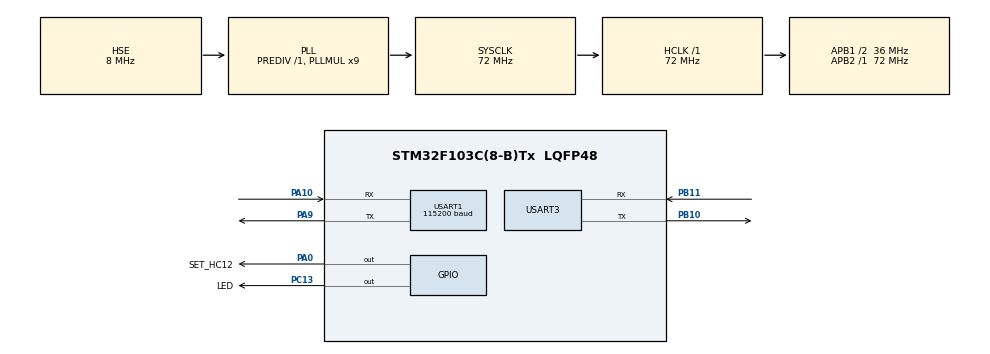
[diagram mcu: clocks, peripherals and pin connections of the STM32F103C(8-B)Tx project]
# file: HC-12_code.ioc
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Dma.Request0=USART1_RX
Dma.Request1=USART1_TX
Dma.USART1_RX.0.Direction=DMA_PERIPH_TO_MEMORY
Dma.USART1_RX.0.Instance=DMA1_Channel5
Dma.USART1_RX.0.MemDataAlignment=DMA_MDATAALIGN_BYTE
Dma.USART1_RX.0.MemInc=DMA_MINC_ENABLE
Dma.USART1_RX.0.Mode=DMA_NORMAL
Dma.USART1_RX.0.PeriphDataAlignment=DMA_PDATAALIGN_BYTE
Dma.USART1_RX.0.PeriphInc=DMA_PINC_DISABLE
Dma.USART1_RX.0.Priority=DMA_PRIORITY_MEDIUM
Dma.USART1_TX.1.Direction=DMA_MEMORY_TO_PERIPH
Dma.USART1_TX.1.Instance=DMA1_Channel4
Dma.USART1_TX.1.MemDataAlignment=DMA_MDATAALIGN_BYTE
Dma.USART1_TX.1.MemInc=DMA_MINC_ENABLE
Dma.USART1_TX.1.Mode=DMA_NORMAL
Dma.USART1_TX.1.PeriphDataAlignment=DMA_PDATAALIGN_BYTE
Dma.USART1_TX.1.PeriphInc=DMA_PINC_DISABLE
Dma.USART1_TX.1.Priority=DMA_PRIORITY_LOW
Mcu.Family=STM32F1
Mcu.Name=STM32F103C(8-B)Tx
Mcu.Package=LQFP48
NVIC.DMA1_Channel4_IRQn=true\:0\:0\:false\:false\:true\:false\:true\:true
NVIC.DMA1_Channel5_IRQn=true\:0\:0\:false\:false\:true\:false\:true\:true
NVIC.PriorityGroup=NVIC_PRIORITYGROUP_4
NVIC.TIM1_BRK_IRQn=true\:0\:0\:false\:false\:true\:true\:true\:true
NVIC.TIM1_UP_IRQn=true\:0\:0\:false\:false\:true\:true\:true\:true
NVIC.USART1_IRQn=true\:0\:0\:false\:false\:true\:true\:true\:true
NVIC.USART3_IRQn=true\:0\:0\:false\:false\:true\:true\:true\:true
PA0-WKUP.GPIO_Label=SET_HC12
PA0-WKUP.Signal=GPIO_Output
PA10.Mode=Asynchronous
PA10.Signal=USART1_RX
PA13.Mode=Serial_Wire
PA13.Signal=SYS_JTMS-SWDIO
PA14.Mode=Serial_Wire
PA14.Signal=SYS_JTCK-SWCLK
PA9.Mode=Asynchronous
PA9.Signal=USART1_TX
PB10.Mode=Asynchronous
PB10.Signal=USART3_TX
PB11.Mode=Asynchronous
PB11.Signal=USART3_RX
PC13-TAMPER-RTC.GPIO_Label=LED
PC13-TAMPER-RTC.Signal=GPIO_Output
PD0-OSC_IN.Mode=HSE-External-Oscillator
PD0-OSC_IN.Signal=RCC_OSC_IN
PD1-OSC_OUT.Mode=HSE-External-Oscillator
PD1-OSC_OUT.Signal=RCC_OSC_OUT
ProjectManager.HeapSize=0x200
ProjectManager.StackSize=0x400
ProjectManager.TargetToolchain=MDK-ARM V5.32
RCC.AHBFreq_Value=72000000
RCC.APB1CLKDivider=RCC_HCLK_DIV2
RCC.APB1Freq_Value=36000000
RCC.APB1TimFreq_Value=72000000
RCC.APB2Freq_Value=72000000
RCC.APB2TimFreq_Value=72000000
RCC.HCLKFreq_Value=72000000
RCC.PLLMUL=RCC_PLL_MUL9
RCC.PLLSourceVirtual=RCC_PLLSOURCE_HSE
RCC.SYSCLKFreq_VALUE=72000000
RCC.SYSCLKSource=RCC_SYSCLKSOURCE_PLLCLK
RCC.USBFreq_Value=72000000
TIM1.Prescaler=72-1
USART1.BaudRate=115200
USART1.VirtualMode=VM_ASYNC
USART3.VirtualMode=VM_ASYNC
VP_TIM1_VS_ClockSourceINT.Mode=Internal
board=custom

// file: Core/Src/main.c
/* USER CODE BEGIN Header */
/**
  ******************************************************************************
  * @file           : main.c
  * @brief          : Main program body
  ******************************************************************************
  * @attention
  *
  * Copyright (c) 2024 STMicroelectronics.
  * All rights reserved.
  *
  * This software is licensed under terms that can be found in the LICENSE file
  * in the root directory of this software component.
  * If no LICENSE file comes with this software, it is provided AS-IS.
  *
  ******************************************************************************
  */
/* USER CODE END Header */
#include "main.h"

/* USER CODE BEGIN Includes */
#include <HC12.h>
#include <string.h>
#include <stdlib.h>

/* USER CODE END Includes */

TIM_HandleTypeDef htim1;

UART_HandleTypeDef huart1;
UART_HandleTypeDef huart3;
DMA_HandleTypeDef hdma_usart1_rx;
DMA_HandleTypeDef hdma_usart1_tx;

void SystemClock_Config(void);
static void MX_GPIO_Init(void);
static void MX_DMA_Init(void);
static void MX_USART1_UART_Init(void);
static void MX_USART3_UART_Init(void);
static void MX_TIM1_Init(void);

/* USER CODE BEGIN 0 */
uint8_t num_carpet = 0;

extern HC12_t vHC12;

uint32_t time_tick = 0;

	void HAL_TIM_PeriodElapsedCallback(TIM_HandleTypeDef *htim) {
    if (htim->Instance == TIM1) {
			time_tick++;
    }
	}

	void HAL_UARTEx_RxEventCallback(UART_HandleTypeDef *huart, uint16_t Size)
	{
		/* Prevent unused argument(s) compilation warning */
		UNUSED(huart);
		UNUSED(Size);
		if(huart->Instance == huart1.Instance)
		{
			if(Size == LENGHT_TX){
				vHC12.flag_rx = 1;
			}
			HAL_UARTEx_ReceiveToIdle_DMA(&huart1, vHC12.rx_buffer, 30);
		}
	}

/* USER CODE END 0 */

int main(void)
{

  /* MCU Configuration--------------------------------------------------------*/

  /* Reset of all peripherals, Initializes the Flash interface and the Systick. */
  HAL_Init();

  /* Configure the system clock */
  SystemClock_Config();

  /* Initialize all configured peripherals */
  MX_GPIO_Init();
  MX_DMA_Init();
  MX_USART1_UART_Init();
  MX_USART3_UART_Init();
  MX_TIM1_Init();
  /* USER CODE BEGIN 2 */
	//HC12_Init(&huart1, 115200, 12, FU3);

	HC12_Init(&vHC12);

	HAL_UARTEx_ReceiveToIdle_DMA(&huart1, vHC12.rx_buffer, 30);

  /* USER CODE END 2 */

  /* Infinite loop */
  while (1)
  {

    /* USER CODE BEGIN 3 */

//			HAL_GPIO_TogglePin(LED_GPIO_Port, LED_Pin);
//			Gen_data_TX(vHC12.tx_buffer, 1, DI_TIEN, 1);
//			trans_data(&huart1, vHC12.tx_buffer, LENGHT_TX);
//			HAL_Delay(1000);

		if(vHC12.modeRun == 1){		// di tien
			sendCMD(vHC12.tx_buffer, 1, DI_TIEN);
		}
		else if(vHC12.modeRun == 2){			// di lui
			sendCMD(vHC12.tx_buffer, 1, DI_LUI);
		}
		else if(vHC12.modeRun == 3){			// xoay trai
			sendCMD(vHC12.tx_buffer, 1, QUAY_TRAI);
		}
		else if(vHC12.modeRun == 4){				// xoay phai
			sendCMD(vHC12.tx_buffer, 1, QUAY_PHAI);
		}
		else if(vHC12.modeRun == 5){				// quay lai
			sendCMD(vHC12.tx_buffer, 1, QUAY_LAI);
		}
		else;

		if(vHC12.flag_rx == 1){
			Handle_HC12_RX(vHC12.rx_buffer, vHC12.tx_buffer);
			vHC12.flag_rx = 0;
		}

  }
  /* USER CODE END 3 */
}

void SystemClock_Config(void)
{
  RCC_OscInitTypeDef RCC_OscInitStruct = {0};
  RCC_ClkInitTypeDef RCC_ClkInitStruct = {0};

  /** Initializes the RCC Oscillators according to the specified parameters
  * in the RCC_OscInitTypeDef structure.
  */
  RCC_OscInitStruct.OscillatorType = RCC_OSCILLATORTYPE_HSE;
  RCC_OscInitStruct.HSEState = RCC_HSE_ON;
  RCC_OscInitStruct.HSEPredivValue = RCC_HSE_PREDIV_DIV1;
  RCC_OscInitStruct.HSIState = RCC_HSI_ON;
  RCC_OscInitStruct.PLL.PLLState = RCC_PLL_ON;
  RCC_OscInitStruct.PLL.PLLSource = RCC_PLLSOURCE_HSE;
  RCC_OscInitStruct.PLL.PLLMUL = RCC_PLL_MUL9;
  if (HAL_RCC_OscConfig(&RCC_OscInitStruct) != HAL_OK)
  {
    Error_Handler();
  }

  /** Initializes the CPU, AHB and APB buses clocks
  */
  RCC_ClkInitStruct.ClockType = RCC_CLOCKTYPE_HCLK|RCC_CLOCKTYPE_SYSCLK
                              |RCC_CLOCKTYPE_PCLK1|RCC_CLOCKTYPE_PCLK2;
  RCC_ClkInitStruct.SYSCLKSource = RCC_SYSCLKSOURCE_PLLCLK;
  RCC_ClkInitStruct.AHBCLKDivider = RCC_SYSCLK_DIV1;
  RCC_ClkInitStruct.APB1CLKDivider = RCC_HCLK_DIV2;
  RCC_ClkInitStruct.APB2CLKDivider = RCC_HCLK_DIV1;

  if (HAL_RCC_ClockConfig(&RCC_ClkInitStruct, FLASH_LATENCY_2) != HAL_OK)
  {
    Error_Handler();
  }
}

static void MX_TIM1_Init(void)
{

  TIM_ClockConfigTypeDef sClockSourceConfig = {0};
  TIM_MasterConfigTypeDef sMasterConfig = {0};

  htim1.Instance = TIM1;
  htim1.Init.Prescaler = 72-1;
  htim1.Init.CounterMode = TIM_COUNTERMODE_UP;
  htim1.Init.Period = 65535;
  htim1.Init.ClockDivision = TIM_CLOCKDIVISION_DIV1;
  htim1.Init.RepetitionCounter = 0;
  htim1.Init.AutoReloadPreload = TIM_AUTORELOAD_PRELOAD_DISABLE;
  if (HAL_TIM_Base_Init(&htim1) != HAL_OK)
  {
    Error_Handler();
  }
  sClockSourceConfig.ClockSource = TIM_CLOCKSOURCE_INTERNAL;
  if (HAL_TIM_ConfigClockSource(&htim1, &sClockSourceConfig) != HAL_OK)
  {
    Error_Handler();
  }
  sMasterConfig.MasterOutputTrigger = TIM_TRGO_RESET;
  sMasterConfig.MasterSlaveMode = TIM_MASTERSLAVEMODE_DISABLE;
  if (HAL_TIMEx_MasterConfigSynchronization(&htim1, &sMasterConfig) != HAL_OK)
  {
    Error_Handler();
  }

}

static void MX_USART1_UART_Init(void)
{

  huart1.Instance = USART1;
  huart1.Init.BaudRate = 115200;
  huart1.Init.WordLength = UART_WORDLENGTH_8B;
  huart1.Init.StopBits = UART_STOPBITS_1;
  huart1.Init.Parity = UART_PARITY_NONE;
  huart1.Init.Mode = UART_MODE_TX_RX;
  huart1.Init.HwFlowCtl = UART_HWCONTROL_NONE;
  huart1.Init.OverSampling = UART_OVERSAMPLING_16;
  if (HAL_UART_Init(&huart1) != HAL_OK)
  {
    Error_Handler();
  }

}

static void MX_USART3_UART_Init(void)
{

  huart3.Instance = USART3;
  huart3.Init.BaudRate = 115200;
  huart3.Init.WordLength = UART_WORDLENGTH_8B;
  huart3.Init.StopBits = UART_STOPBITS_1;
  huart3.Init.Parity = UART_PARITY_NONE;
  huart3.Init.Mode = UART_MODE_TX_RX;
  huart3.Init.HwFlowCtl = UART_HWCONTROL_NONE;
  huart3.Init.OverSampling = UART_OVERSAMPLING_16;
  if (HAL_UART_Init(&huart3) != HAL_OK)
  {
    Error_Handler();
  }

}

static void MX_DMA_Init(void)
{

  /* DMA controller clock enable */
  __HAL_RCC_DMA1_CLK_ENABLE();

  /* DMA interrupt init */
  /* DMA1_Channel4_IRQn interrupt configuration */
  HAL_NVIC_SetPriority(DMA1_Channel4_IRQn, 0, 0);
  HAL_NVIC_EnableIRQ(DMA1_Channel4_IRQn);
  /* DMA1_Channel5_IRQn interrupt configuration */
  HAL_NVIC_SetPriority(DMA1_Channel5_IRQn, 0, 0);
  HAL_NVIC_EnableIRQ(DMA1_Channel5_IRQn);

}

static void MX_GPIO_Init(void)
{
  GPIO_InitTypeDef GPIO_InitStruct = {0};

  /* GPIO Ports Clock Enable */
  __HAL_RCC_GPIOC_CLK_ENABLE();
  __HAL_RCC_GPIOD_CLK_ENABLE();
  __HAL_RCC_GPIOA_CLK_ENABLE();
  __HAL_RCC_GPIOB_CLK_ENABLE();

  /*Configure GPIO pin Output Level */
  HAL_GPIO_WritePin(LED_GPIO_Port, LED_Pin, GPIO_PIN_RESET);

  /*Configure GPIO pin Output Level */
  HAL_GPIO_WritePin(SET_HC12_GPIO_Port, SET_HC12_Pin, GPIO_PIN_RESET);

  /*Configure GPIO pin : LED_Pin */
  GPIO_InitStruct.Pin = LED_Pin;
  GPIO_InitStruct.Mode = GPIO_MODE_OUTPUT_PP;
  GPIO_InitStruct.Pull = GPIO_NOPULL;
  GPIO_InitStruct.Speed = GPIO_SPEED_FREQ_LOW;
  HAL_GPIO_Init(LED_GPIO_Port, &GPIO_InitStruct);

  /*Configure GPIO pin : SET_HC12_Pin */
  GPIO_InitStruct.Pin = SET_HC12_Pin;
  GPIO_InitStruct.Mode = GPIO_MODE_OUTPUT_PP;
  GPIO_InitStruct.Pull = GPIO_NOPULL;
  GPIO_InitStruct.Speed = GPIO_SPEED_FREQ_LOW;
  HAL_GPIO_Init(SET_HC12_GPIO_Port, &GPIO_InitStruct);

}

void Error_Handler(void)
{
  __disable_irq();
  while (1)
  {
  }
}
